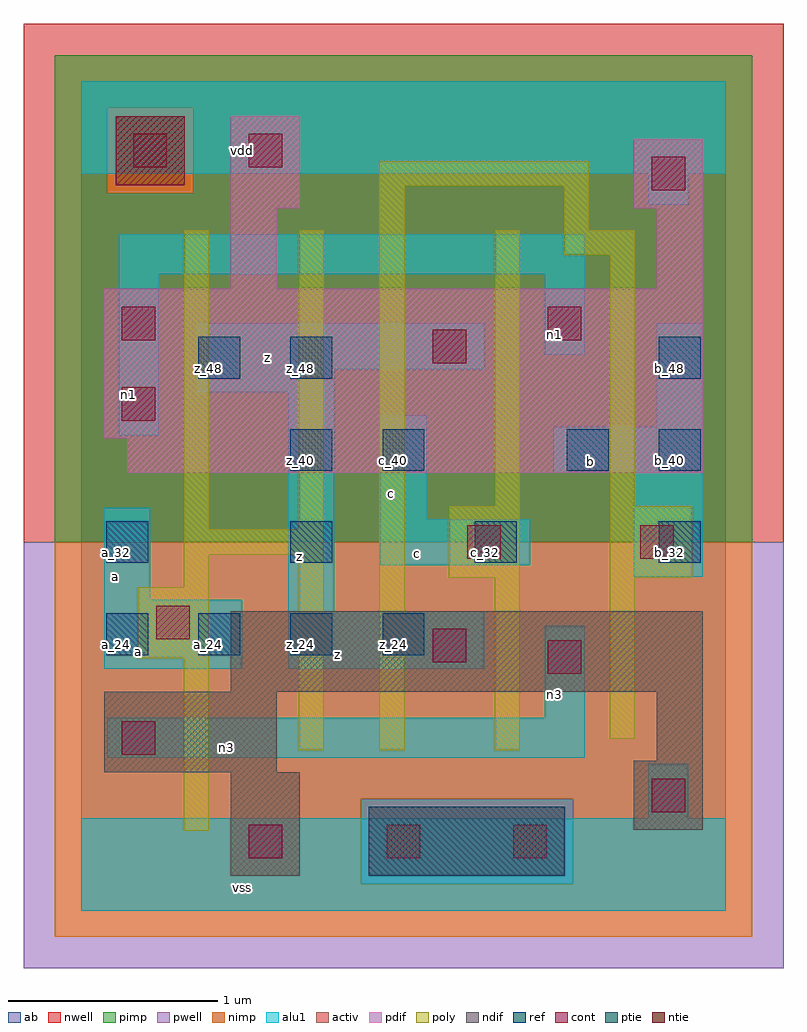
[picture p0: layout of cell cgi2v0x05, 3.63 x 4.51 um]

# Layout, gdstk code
import gdstk
lib = gdstk.Library(unit=1e-6, precision=2.5e-09)
def R(c, l, rs):  # rectangles x0, y0, x1, y1
    for r in rs: c.add(gdstk.rectangle(r[:2], r[2:], *l))
def A(c, l, x, y, w, h, nx, ny, dx, dy):  # array of equal rectangles
    R(c, l, [(x+i*dx, y+j*dy, x+i*dx+w, y+j*dy+h) for i in range(nx) for j in range(ny)])
ndif = (3, 0)
pdif = (4, 0)
ntie = (5, 0)
ptie = (6, 0)
ref = (24, 0)
cont = (25, 0)
pwell = (41, 0)
nwell = (42, 0)
activ = (43, 0)
pimp = (44, 0)
nimp = (45, 0)
poly = (46, 0)
alu1 = (49, 0)
ab = (63, 0)

cgi2v0x05 = lib.new_cell('cgi2v0x05')
R(cgi2v0x05, ndif, [(0.715,0.165,1.045,0.66), (2.64,0.385,2.97,0.715), (0.11,0.66,0.935,1.045), (2.75,0.715,2.97,1.045), (0.715,1.045,2.97,1.43)])
R(cgi2v0x05, pdif, [(0.22,2.09,2.97,2.255), (0.11,2.255,2.97,2.97), (0.715,2.97,0.935,3.355), (2.75,2.97,2.97,3.355), (0.715,3.355,1.045,3.795), (2.64,3.355,2.97,3.685)])
R(cgi2v0x05, ntie, [(0.165,3.465,0.495,3.795)])
R(cgi2v0x05, ptie, [(1.375,0.165,2.31,0.495)])
A(cgi2v0x05, ref, 0.12, 1.22, 0.2, 0.2, 4, 1, 0.44, 0)
A(cgi2v0x05, ref, 0.12, 1.66, 0.2, 0.2, 4, 1, 0.88, 0)
R(cgi2v0x05, ref, [(1,2.1,1.2,2.3), (1.44,2.1,1.64,2.3), (2.32,2.1,2.52,2.3), (2.76,2.1,2.96,2.3), (0.56,2.54,0.76,2.74), (1,2.54,1.2,2.74), (2.76,2.54,2.96,2.74)])
R(cgi2v0x05, cont, [(0.8,0.25,0.96,0.41), (1.46,0.25,1.62,0.41), (2.065,0.25,2.225,0.41), (2.725,0.47,2.885,0.63), (0.195,0.745,0.355,0.905), (2.23,1.13,2.39,1.29), (1.68,1.185,1.84,1.345), (0.36,1.295,0.52,1.455), (1.845,1.68,2.005,1.84), (2.67,1.68,2.83,1.84), (0.195,2.34,0.355,2.5), (1.68,2.615,1.84,2.775), (0.195,2.725,0.355,2.885), (2.23,2.725,2.39,2.885), (2.725,3.44,2.885,3.6), (0.25,3.55,0.41,3.71), (0.8,3.55,0.96,3.71)])
R(cgi2v0x05, pwell, [(-0.275,-0.275,3.355,1.76)])
R(cgi2v0x05, nwell, [(-0.275,1.76,3.355,4.235)])
R(cgi2v0x05, activ, [(0.715,0.165,1.045,0.66), (1.375,0.165,2.31,0.495), (2.64,0.385,2.97,0.715), (0.11,0.66,0.935,1.045), (2.75,0.715,2.97,1.045), (0.715,1.045,2.97,1.43), (0.22,2.09,2.97,2.255), (0.11,2.255,2.97,2.97), (0.715,2.97,0.935,3.355), (2.75,2.97,2.97,3.355), (0.715,3.355,1.045,3.795), (2.64,3.355,2.97,3.685), (0.165,3.465,0.495,3.795)])
R(cgi2v0x05, pimp, [(1.335,0.125,2.35,0.535), (-0.125,1.76,3.205,3.425), (-0.125,3.425,0.125,3.835), (0.535,3.425,3.205,3.835), (-0.125,3.835,3.205,4.085)])
R(cgi2v0x05, nimp, [(-0.125,-0.125,3.205,0.125), (-0.125,0.125,1.335,0.535), (2.35,0.125,3.205,0.535), (-0.125,0.535,3.205,1.76), (0.125,3.425,0.535,3.835)])
R(cgi2v0x05, poly, [(0.49,0.38,0.61,1.205), (1.04,0.765,1.16,1.7), (1.425,0.765,1.545,3.46), (1.975,0.765,2.095,1.59), (2.525,0.82,2.645,1.59), (0.27,1.205,0.61,1.545), (0.49,1.545,0.61,1.7), (1.755,1.59,2.095,1.93), (2.525,1.59,2.92,1.93), (0.49,1.7,1.16,1.82), (0.49,1.82,0.61,3.25), (1.04,1.82,1.16,3.25), (1.975,1.93,2.095,3.25), (2.525,1.93,2.645,3.13), (2.305,3.13,2.645,3.25), (2.305,3.25,2.425,3.46), (1.425,3.46,2.425,3.58)])
R(cgi2v0x05, alu1, [(0,0,3.08,0.44), (2.71,0.44,2.9,0.7), (0.125,0.73,2.405,0.92), (2.215,0.92,2.405,1.36), (0.11,1.155,0.77,1.485), (0.99,1.155,1.925,1.43), (0.99,1.43,1.21,2.475), (0.11,1.485,0.33,1.925), (2.64,1.595,2.97,2.09), (1.43,1.65,2.145,1.87), (1.43,1.87,1.65,2.365), (2.255,2.09,2.97,2.31), (0.18,2.27,0.37,3.04), (2.75,2.31,2.97,2.805), (0.55,2.475,1.21,2.585), (0.55,2.585,1.925,2.805), (2.215,2.655,2.405,3.04), (0.18,3.04,2.405,3.23), (2.71,3.37,2.9,3.52), (0,3.52,3.08,3.96)])
R(cgi2v0x05, ab, [(0,0,3.08,3.96)])
cgi2v0x05.add(gdstk.Label('vss', (0.77,0.11), layer=49, texttype=0))
cgi2v0x05.add(gdstk.Label('n3', (0.695,0.7775), layer=49, texttype=0))
cgi2v0x05.add(gdstk.Label('n3', (2.2625,1.03), layer=49, texttype=0))
cgi2v0x05.add(gdstk.Label('z', (1.2225,1.2225), layer=49, texttype=0))
cgi2v0x05.add(gdstk.Label('c', (1.6075,1.705), layer=49, texttype=0))
cgi2v0x05.add(gdstk.Label('b', (2.4325,2.145), layer=49, texttype=0))
cgi2v0x05.add(gdstk.Label('c', (1.485,1.9925), layer=49, texttype=0))
cgi2v0x05.add(gdstk.Label('z', (1.045,1.69), layer=49, texttype=0))
cgi2v0x05.add(gdstk.Label('a', (0.275,1.2375), layer=49, texttype=0))
cgi2v0x05.add(gdstk.Label('a', (0.165,1.595), layer=49, texttype=0))
cgi2v0x05.add(gdstk.Label('n1', (2.2625,2.75), layer=49, texttype=0))
cgi2v0x05.add(gdstk.Label('z', (0.8925,2.64), layer=49, texttype=0))
cgi2v0x05.add(gdstk.Label('n1', (0.2275,2.4625), layer=49, texttype=0))
cgi2v0x05.add(gdstk.Label('vdd', (0.77,3.63), layer=49, texttype=0))
cgi2v0x05.add(gdstk.Label('a_24', (0.61,1.27), layer=24, texttype=0))
cgi2v0x05.add(gdstk.Label('z_48', (0.61,2.59), layer=24, texttype=0))
cgi2v0x05.add(gdstk.Label('z_24', (1.05,1.27), layer=24, texttype=0))
cgi2v0x05.add(gdstk.Label('z_32', (1.05,1.71), layer=24, texttype=0))
cgi2v0x05.add(gdstk.Label('z_40', (1.05,2.15), layer=24, texttype=0))
cgi2v0x05.add(gdstk.Label('z_48', (1.05,2.59), layer=24, texttype=0))
cgi2v0x05.add(gdstk.Label('z_24', (1.49,1.27), layer=24, texttype=0))
cgi2v0x05.add(gdstk.Label('c_40', (1.49,2.15), layer=24, texttype=0))
cgi2v0x05.add(gdstk.Label('c_32', (1.93,1.71), layer=24, texttype=0))
cgi2v0x05.add(gdstk.Label('a_24', (0.17,1.27), layer=24, texttype=0))
cgi2v0x05.add(gdstk.Label('a_32', (0.17,1.71), layer=24, texttype=0))
cgi2v0x05.add(gdstk.Label('b_40', (2.37,2.15), layer=24, texttype=0))
cgi2v0x05.add(gdstk.Label('b_32', (2.81,1.71), layer=24, texttype=0))
cgi2v0x05.add(gdstk.Label('b_40', (2.81,2.15), layer=24, texttype=0))
cgi2v0x05.add(gdstk.Label('b_48', (2.81,2.59), layer=24, texttype=0))

lib.write_gds('cgi2v0x05.gds')
